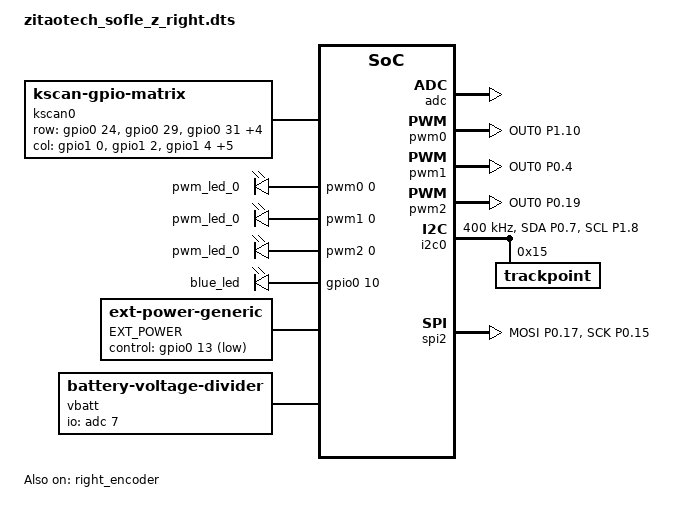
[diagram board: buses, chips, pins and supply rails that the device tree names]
/*
*
* Copyright (c) 2025 ZitaoTech
* SPDX-License-Identifier: MIT
*
*/

#include "zitaotech_sofle_z.dtsi"

/ {
    chosen {
        zmk,backlight = &backlight;
        zmk,custom_led = &custom_led;
        zmk,battery = &vbatt;
        zmk,keyboard_backlight = &keyboard_backlight;
    }; 
    kscan0: kscan {
        compatible = "zmk,kscan-gpio-matrix";
        diode-direction = "col2row";
        row-gpios
            = <&gpio0 24 (GPIO_ACTIVE_HIGH | GPIO_PULL_DOWN)>
            , <&gpio0 29  (GPIO_ACTIVE_HIGH | GPIO_PULL_DOWN)>
            , <&gpio0 31 (GPIO_ACTIVE_HIGH | GPIO_PULL_DOWN)>
            , <&gpio0 28  (GPIO_ACTIVE_HIGH | GPIO_PULL_DOWN)>
            , <&gpio0 26  (GPIO_ACTIVE_HIGH | GPIO_PULL_DOWN)>
            , <&gpio0 12  (GPIO_ACTIVE_HIGH | GPIO_PULL_DOWN)>
            , <&gpio1 9  (GPIO_ACTIVE_HIGH | GPIO_PULL_DOWN)>
            ;
        col-gpios
            = <&gpio1 0  GPIO_ACTIVE_HIGH>
            , <&gpio1 2  GPIO_ACTIVE_HIGH>
            , <&gpio1 4  GPIO_ACTIVE_HIGH>
            , <&gpio1 15 GPIO_ACTIVE_HIGH>
            , <&gpio0 3 GPIO_ACTIVE_HIGH>
            , <&gpio0 30 GPIO_ACTIVE_HIGH>
            , <&gpio0 5 GPIO_ACTIVE_HIGH>
            , <&gpio0 27 GPIO_ACTIVE_HIGH>
            ;
    };

    keyboard_backlight: pwmledfo{
        compatible = "pwm-leds";
        pwm_led_0 {
            pwms = <&pwm0 0 PWM_USEC(2000) PWM_POLARITY_NORMAL>;
        };
    };

    custom_led: pwmledto{
        compatible = "pwm-leds";
        pwm_led_0 {
            pwms = <&pwm1 0 PWM_USEC(20) PWM_POLARITY_NORMAL>;
        };
    };
    
    backlight: pwmleds {
        compatible = "pwm-leds";
        pwm_led_0 {
            pwms = <&pwm2 0 PWM_MSEC(10) PWM_POLARITY_NORMAL>;
        };
    };


    leds {
        compatible = "gpio-leds";
        blue_led: led_0 {
            gpios = <&gpio0 10 GPIO_ACTIVE_HIGH>;
        };
    };
        EXT_POWER {
        compatible = "zmk,ext-power-generic";
        control-gpios = <&gpio0 13 GPIO_ACTIVE_LOW>;
    };

    vbatt: vbatt {
        compatible = "zmk,battery-voltage-divider";
        io-channels = <&adc 7>;
        output-ohms = <2000000>;
        full-ohms = <2820000>;  // 2000000 + 820000
    };


};

&default_transform {
    col-offset = <8>;
};

&adc {
    status = "okay";
};

&gpiote {
    status = "okay";
};

&gpio0 {
    status = "okay";
};

&gpio1 {
    status = "okay";
};

&pwm0 {
    status = "okay";
    pinctrl-0 = <&pwm0_default>;
    pinctrl-1 = <&pwm0_sleep>;
    pinctrl-names = "default", "sleep";
};

&pwm1 {
    status = "okay";
    pinctrl-0 = <&pwm1_default>;
    pinctrl-1 = <&pwm1_sleep>;
    pinctrl-names = "default", "sleep";
};

&pwm2 {
    status = "okay";
    pinctrl-0 = <&pwm2_default>;
    pinctrl-1 = <&pwm2_sleep>;
    pinctrl-names = "default", "sleep";
};


&right_encoder {
    status = "okay";
};

/*&i2c0 {
    status = "okay";
    compatible = "nordic,nrf-twim";
    clock-frequency = <I2C_BITRATE_FAST>; 
    pinctrl-0 = <&i2c0_default>;
    pinctrl-1 = <&i2c0_sleep>;
    pinctrl-names = "default", "sleep";

    trackpad:a320@3b {
        compatible = "avago,a320";
        reg = <0x3b>;
        status = "okay";
    };
};

&trackpad_listener {
    status = "okay";
};

/ {
    trackpad_inputs {
        #address-cells = <1>;
        #size-cells = <0>;

    };
    trackpad_listener: trackpad_listener {
        compatible = "zmk,input-listener";
        status = "disabled";
        device = <&trackpad>;
    };
};*/




&i2c0 {
    status = "okay";
    compatible = "nordic,nrf-twim";
    clock-frequency = <I2C_BITRATE_FAST>; 
    pinctrl-0 = <&i2c0_default>;
    pinctrl-1 = <&i2c0_sleep>;
    pinctrl-names = "default", "sleep";

    trackpoint:trackpoint@15 {
        compatible = "zmk,trackpoint";
        reg = <0x15>;
        status = "okay";
    };
};

/*
/ {
    trackpoint_inputs {
        #address-cells = <1>;
        #size-cells = <0>;

    };
    trackpoint_listener: trackpoint_listener {
        compatible = "zmk,input-listener";
        status = "disabled";
        device = <&trackpoint>;
    };
};


&bbtrackball_listener {
    status = "okay";
};

&trackpoint_listener {
    status = "okay";
};

*/

lpm_view_spi: &spi2 {
    compatible = "nordic,nrf-spim";
    pinctrl-0 = <&spi2_default>;
    pinctrl-1 = <&spi2_sleep>;
    pinctrl-names = "default", "sleep";
    cs-gpios = <&gpio0 13 (GPIO_ACTIVE_HIGH | GPIO_PULL_DOWN) >;
};


&pinctrl {
    i2c0_default: i2c0_default {
        group1 {
            psels = <NRF_PSEL(TWIM_SDA, 0, 7)>,
                <NRF_PSEL(TWIM_SCL, 1, 8)>;
        };
    };

    i2c0_sleep: i2c0_sleep {
        group1 {
            psels = <NRF_PSEL(TWIM_SDA, 0, 7)>,
                <NRF_PSEL(TWIM_SCL, 1, 8)>;
            low-power-enable;
        };
    };


    pwm0_default:pwm0_default{
        group1{
            psels = <NRF_PSEL(PWM_OUT0, 1, 10)>; // Keyboard backlight
        };
    };

    pwm0_sleep: pwm0_sleep {
        group1 {
            psels = <NRF_PSEL(PWM_OUT0, 1, 10)>;
            bias-pull-down;
        };
    };

    pwm1_default: pwm1_default {
        group1 {
            psels = <NRF_PSEL(PWM_OUT0, 0, 4)>; // Custom led
        };
    };

    pwm1_sleep: pwm1_sleep {
        group1 {
            psels = <NRF_PSEL(PWM_OUT0, 0, 4)>;
            bias-pull-down;
        };
    };
    
    pwm2_default: pwm2_default {
        group1 {
            psels = <NRF_PSEL(PWM_OUT0, 0, 19)>; // unreal backlight gpio
        };
    };

    pwm2_sleep: pwm2_sleep {
        group1 {
            psels = <NRF_PSEL(PWM_OUT0, 0, 19)>;
            bias-pull-down;
        };
    };

    spi2_default: spi2_default {
        group1 {
            psels = <NRF_PSEL(SPIM_MOSI, 0, 17)>,
            <NRF_PSEL(SPIM_SCK, 0, 15)>;
        };
    };
    spi2_sleep: spi2_sleep {
        group1 {
            psels = <NRF_PSEL(SPIM_MOSI, 0, 17)>,
            <NRF_PSEL(SPIM_SCK, 0, 15)>;
            low-power-enable;
        };
    };

};
